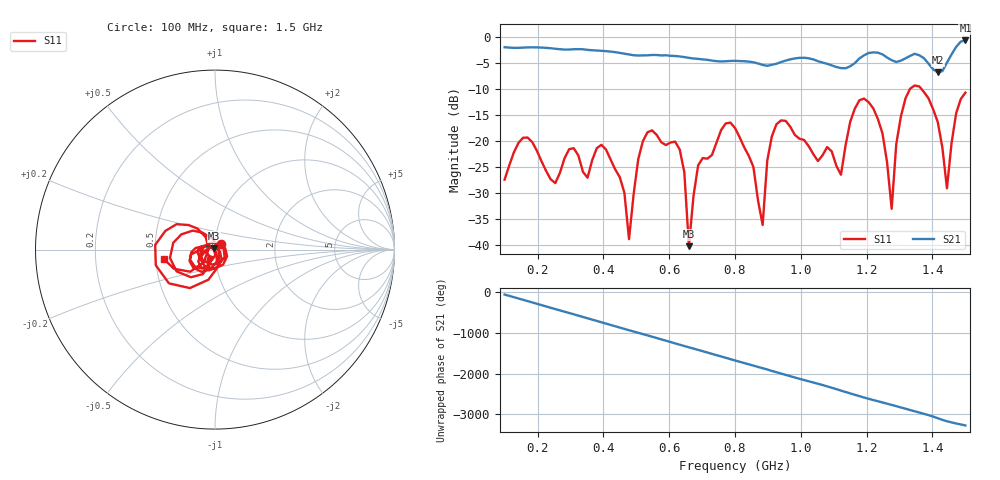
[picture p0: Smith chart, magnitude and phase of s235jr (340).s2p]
! NanoVNA-App
! Date: 2025-09-25 15:06:48
! Start: 100MHz Stop: 1,5GHz Points: 101
! S-Parameter data: F S11 S21 S12 S22
# Hz S RI R 50
!  Frequency  S11_Real  S11_Imag  S21_Real  S21_Imag  S12_Real  S12_Imag  S22_Real  S22_Imag
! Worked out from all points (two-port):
!   101 points, 100 MHz to 1.5 GHz, reference 50 ohm
!   highest |S21| = -0.66 dB at 1.5 GHz (marker M1); lowest = -6.8 dB at 1.416 GHz (marker M2)
!   |S21| within 3 dB of the highest: start of sweep to 618.3 MHz; 1.189 GHz to 1.255 GHz (66.53 MHz wide, 5.44 % of centre) (the widest 2 of 4)
!   lowest |S11| = -40.3 dB at 660 MHz (marker M3), VSWR 1.02, Z = 49.3 + j0.624 ohm
!   |S11| at or under -10 dB: start of sweep to 1.332 GHz; 1.366 GHz to end of sweep
!   S12 and S22 are empty: the file has one direction only
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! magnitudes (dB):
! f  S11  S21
! 100 MHz  -27.5  -2.0
! 156 MHz  -19.4  -2.0
! 338 MHz  -26.0  -2.4
! 408 MHz  -21.7  -2.7
! 478 MHz  -38.9  -3.4
! 520 MHz  -20.1  -3.5
! 576 MHz  -20.3  -3.6
! 632 MHz  -21.7  -3.7
! 660 MHz  -40.3  -4.0
! 688 MHz  -24.7  -4.2
! 800 MHz  -17.5  -4.6
! 884 MHz  -36.2  -5.4
! 926 MHz  -16.8  -5.1
! 1.038 GHz  -22.6  -4.3
! 1.122 GHz  -26.5  -6.0
! 1.192 GHz  -11.9  -3.5
! 1.248 GHz  -18.6  -3.3
! 1.276 GHz  -33.1  -4.5
! 1.332 GHz  -9.9  -3.6
! 1.416 GHz  -16.4  -6.8
! 1.444 GHz  -29.1  -4.9
! 1.5 GHz  -10.7  -0.7
